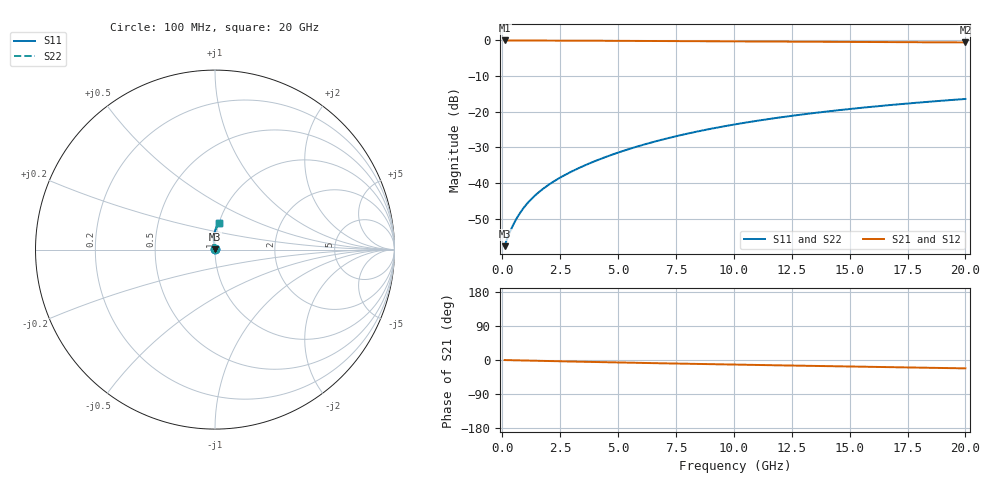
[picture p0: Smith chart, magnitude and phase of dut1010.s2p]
! Touchstone file exported from HFSS 2024.1.0
!  File:  C:/UserFiles/LocalFiles/RDL_TSV_Batchsim/temp_RDL_bottom_1010_1780050294.aedt
!  Generated:  06:27:18 PM May 29, 2026
!  Design:  RDL_bottom
!  Project:  temp_RDL_bottom_1010_1780050294
!  Setup:  Setup1
!  Solution:  Sweep
! Variables:
!  dtsv = 10.80580581um
!  hbump = 3um
!  htsv = 85.77um
!  ldown = 357.67um
!  lrdl = 100um
!  p = 40
!  p1 = 43.65um
!  rhole = 1um
!  t = 450um
!  tdown = 4.7um
!  trdl = 3.915915916um
!  wdown = 29.11um
!  wrdl = 20um
# GHz S MA R 50.000000
! Terminal data exported
! Port[1] = RDL1_T1
! Port[2] = RDL1_T2
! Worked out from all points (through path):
!   200 points, 100 MHz to 20 GHz, reference 50 ohm
!   highest |S21| = -0.01 dB at 100 MHz (marker M1); lowest = -0.6 dB at 20 GHz (marker M2)
!   group delay of S21, straight-line fit = 3.01 ps
!   lowest |S11| = -57.7 dB at 100 MHz (marker M3), VSWR 1.00, Z = 50.1 + j0.0626 ohm
!   |S11| at or under -10 dB: start of sweep to end of sweep
!   |S22| runs from -57.7 to -16.4 dB; largest |S21 - S12| = 2.1e-15
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0.1  0.00131 28.5  0.9988 -0.1  0.9988 -0.1  0.00131 28.5
! Gamma 0 0 0 0
! Port Impedance 50 0 50 0
0.2  0.001643 40.7  0.9987 -0.3  0.9987 -0.3  0.001643 40.7
0.3  0.001973 49.8  0.9986 -0.4  0.9986 -0.4  0.001973 49.8
0.4  0.002333 56.9  0.9984 -0.6  0.9984 -0.6  0.002333 56.9
0.6  0.003125 66.5  0.9982 -0.8  0.9982 -0.8  0.003125 66.5
0.9  0.004408 74.8  0.9979 -1.2  0.9979 -1.2  0.004408 74.8
1.1  0.005296 78.3  0.9976 -1.5  0.9976 -1.5  0.005296 78.3
1.3  0.006201 81.0  0.9974 -1.8  0.9974 -1.8  0.006201 81.0
1.7  0.008056 85.1  0.9966 -2.3  0.9966 -2.3  0.008055 85.1
2.2  0.01047 88.7  0.9955 -3.0  0.9955 -3.0  0.01047 88.7
2.8  0.01353 92.0  0.9939 -3.8  0.9939 -3.8  0.01353 92.0
3.5  0.01739 94.8  0.9917 -4.7  0.9917 -4.7  0.01739 94.8
4.2  0.02159 96.8  0.9893 -5.5  0.9893 -5.5  0.02159 96.8
5  0.02681 98.2  0.9862 -6.5  0.9862 -6.5  0.02681 98.2
5.9  0.03315 98.9  0.9827 -7.6  0.9827 -7.6  0.03315 98.9
6.8  0.03993 99.0  0.9791 -8.6  0.9791 -8.6  0.03993 99.0
8.4  0.05276 98.0  0.9729 -10.4  0.9729 -10.4  0.05276 98.0
10.1  0.06709 96.1  0.9667 -12.2  0.9667 -12.2  0.06709 96.1
11.7  0.08088 93.9  0.9612 -13.8  0.9612 -13.8  0.08088 93.9
13.4  0.09562 91.4  0.9558 -15.6  0.9558 -15.6  0.09562 91.3
16.7  0.1239 86.4  0.9463 -18.9  0.9463 -18.9  0.1239 86.4
20  0.1513 81.6  0.9375 -22.1  0.9375 -22.1  0.1513 81.6
